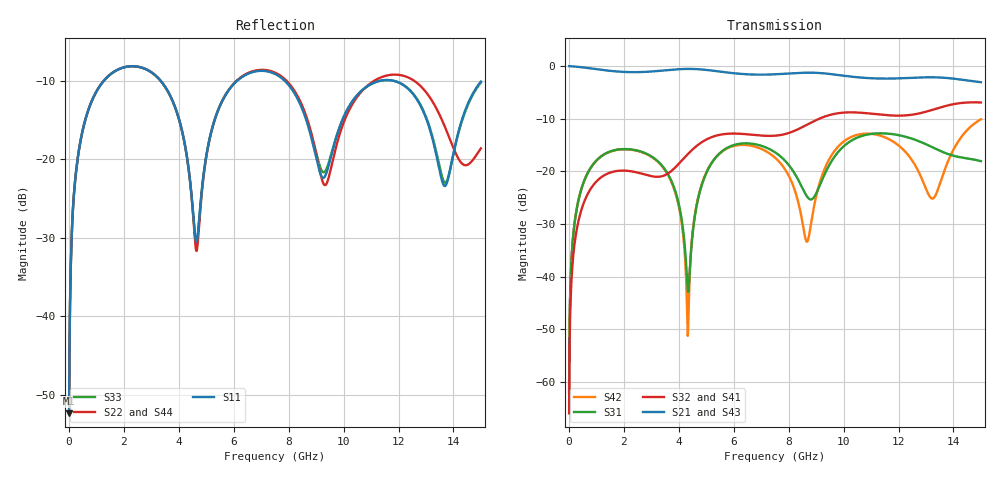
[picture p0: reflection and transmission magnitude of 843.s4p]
! Created with skrf 1.8.0 (http://scikit-rf.org).
# GHz S RI R 50.0
!freq ReS11 ImS11 ReS12 ImS12 ReS13 ImS13
! ReS14 ImS14
! ReS21 ImS21 ReS22 ImS22 ReS23 ImS23
! ReS24 ImS24
! ReS31 ImS31 ReS32 ImS32 ReS33 ImS33
! ReS34 ImS34
! ReS41 ImS41 ReS42 ImS42 ReS43 ImS43
! ReS44 ImS44
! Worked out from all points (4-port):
!   2499 points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, 5 MHz to 15 GHz, reference 50 ohm
!   strongest paths, dB at 5 MHz, 3.476 GHz, 7.19 GHz, 11.1 GHz, 15 GHz:
!     S21: 0.0, -0.8, -1.6, -2.3, -3.1
!     S43: 0.0, -0.8, -1.6, -2.3, -3.1
!     S32: -66.0, -20.8, -13.3, -9.1, -6.9
!     S41: -66.0, -20.8, -13.3, -9.1, -6.9
!     S31: -62.0, -19.5, -15.5, -12.8, -18.1
!     S42: -62.0, -19.6, -16.2, -12.9, -10.1
!   lowest |S11| = -52.3 dB at 5 MHz (marker M1), VSWR 1.00, Z = 50.2 + j0.147 ohm
!   |S11| at or under -10 dB: 3.331 GHz to 6.134 GHz (2.804 GHz wide, 59.2 % of centre); 7.847 GHz to 11.37 GHz (3.519 GHz wide, 36.6 % of centre); 11.77 GHz to end of sweep (the widest 3 of 4)
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0.005  0.00193 0.00146  0.998 -0.00375  9.88e-05 0.000791  -9.57e-05 -0.000493
       0.998 -0.00375  0.00193 0.00146  -9.57e-05 -0.000493  9.87e-05 0.000791
       9.88e-05 0.000791  -9.57e-05 -0.000493  0.00193 0.00146  0.998 -0.00375
       -9.57e-05 -0.000493  9.87e-05 0.000791  0.998 -0.00375  0.00193 0.00146
0.3126303  0.0317 0.0945  0.9565 -0.2317  0.0154 0.046  -0.0127 -0.028
           0.9565 -0.2317  0.0317 0.0945  -0.0127 -0.028  0.0152 0.046
           0.0154 0.046  -0.0127 -0.028  0.0317 0.0945  0.9565 -0.2317
           -0.0127 -0.028  0.0152 0.046  0.9565 -0.2317  0.0317 0.0945
1.419341  0.2918 0.1663  0.498 -0.7562  0.1408 0.0556  -0.0954 0.00271
          0.498 -0.7562  0.2923 0.166  -0.0954 0.00274  0.1395 0.0574
          0.1408 0.0556  -0.0954 0.00274  0.2918 0.1663  0.498 -0.7562
          -0.0954 0.00271  0.1395 0.0574  0.498 -0.7562  0.2923 0.166
4.326803  0.0465 -0.0829  -0.8973 -0.2795  -0.00703 -0.00232  -0.039 0.1403
          -0.8973 -0.2795  0.0434 -0.0846  -0.0388 0.1404  -0.00272 -0.000181
          -0.00703 -0.00232  -0.0388 0.1404  0.0457 -0.0827  -0.8974 -0.2793
          -0.039 0.1403  -0.00272 -0.000181  -0.8974 -0.2793  0.0441 -0.084
5.421009  0.136 0.1506  -0.7952 0.4037  0.1102 0.0904  0.1287 0.1785
          -0.7952 0.4037  0.1327 0.1532  0.129 0.1786  0.1075 0.0934
          0.1102 0.0904  0.129 0.1786  0.1353 0.1523  -0.7947 0.4041
          0.1287 0.1785  0.1075 0.0934  -0.7947 0.4041  0.1348 0.1535
9.366403  0.0791 0.0166  0.8428 0.1012  -0.0108 0.1001  0.0311 -0.3341
          0.8428 0.1012  0.0692 0.00402  0.029 -0.3338  0.0189 0.1125
          -0.0108 0.1001  0.029 -0.3338  0.085 0.0121  0.8425 0.1025
          0.0311 -0.3341  0.0189 0.1125  0.8425 0.1025  0.0648 -0.00131
15  0.2525 0.1829  -0.6446 0.2796  0.00858 0.1246  0.2179 0.3938
    -0.6446 0.2796  0.1124 0.0331  0.2205 0.3934  0.3115 0.0177
    0.00858 0.1246  0.2205 0.3934  0.2523 0.1759  -0.6457 0.28
    0.2179 0.3938  0.3115 0.0177  -0.6457 0.28  0.1086 0.0286
